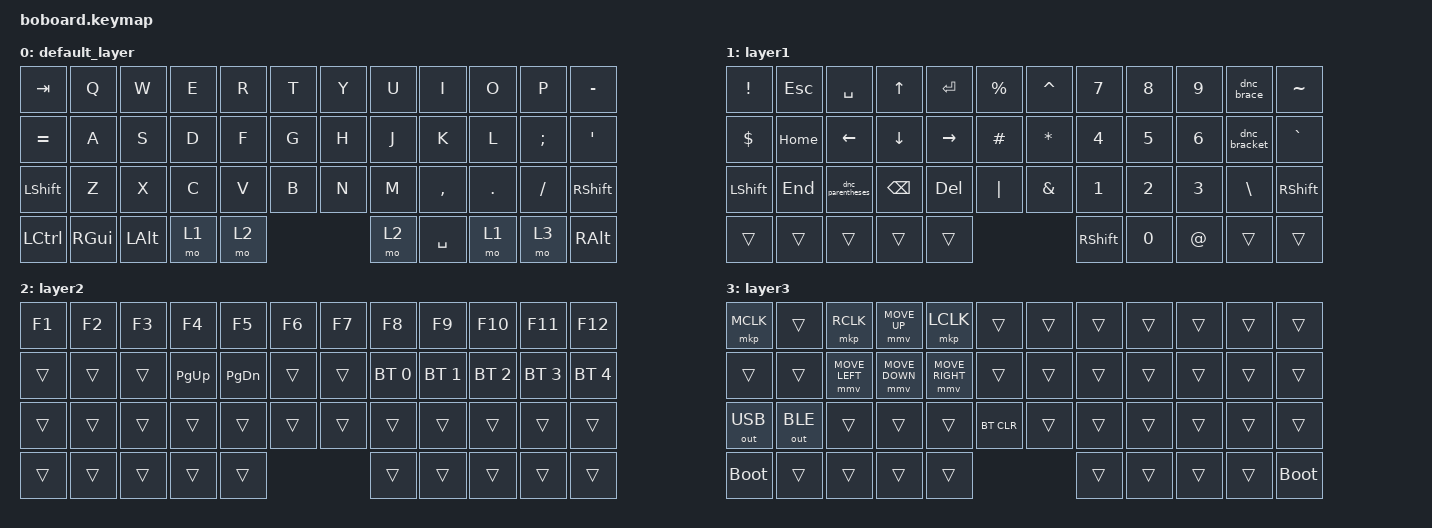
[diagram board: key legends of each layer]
#include <behaviors.dtsi>
#include <dt-bindings/zmk/bt.h>
#include <dt-bindings/zmk/keys.h>
#include <dt-bindings/zmk/outputs.h>

#define ZMK_POINTING_DEFAULT_MOVE_VAL 1500  // default: 600
#define ZMK_POINTING_DEFAULT_SCRL_VAL 20    // default: 10
#include <dt-bindings/zmk/pointing.h>

/ {
    behaviors {
        shift0: tap_dance_0 {
            compatible = "zmk,behavior-tap-dance";
            #binding-cells = <0>;
            tapping-term-ms = <300>;
            bindings = <&kp LSHIFT>, <&kp CAPS>;
        };

        dnc_brace: dnc_brace {
            compatible = "zmk,behavior-tap-dance";
            label = "DNC_BRACE";
            #binding-cells = <0>;
            bindings = <&kp LEFT_BRACE>, <&kp RIGHT_BRACE>;
        };

        dnc_bracket: dnc_bracket {
            compatible = "zmk,behavior-tap-dance";
            label = "DNC_BRACKET";
            #binding-cells = <0>;
            bindings = <&kp LEFT_BRACKET>, <&kp RIGHT_BRACKET>;
        };

        dnc_parentheses: dnc_parentheses {
            compatible = "zmk,behavior-tap-dance";
            label = "DNC_PARENTHESES";
            #binding-cells = <0>;
            #bindings = <&macro_parentheses>, <&kp RIGHT_PARENTHESIS>;
            bindings = <&kp LEFT_PARENTHESIS>, <&kp RIGHT_PARENTHESIS>;
        };
    };

    macros {
        macro_parentheses: macro_parentheses {
            compatible = "zmk,behavior-macro";
            #binding-cells = <0>; // Must be 0
            bindings = <&kp LEFT_PARENTHESIS &kp RIGHT_PARENTHESIS &kp LEFT>;
        };

        macro_bracket: macro_bracket {
            compatible = "zmk,behavior-macro";
            #binding-cells = <0>; // Must be 0
            bindings = <&kp LEFT_BRACKET &kp RIGHT_BRACKET &kp LEFT>;
        };

        macro_brace: macro_brace {
            compatible = "zmk,behavior-macro";
            #binding-cells = <0>; // Must be 0
            bindings = <&kp LEFT_BRACE &kp RIGHT_BRACE &kp LEFT>;
        };
    };

    combos {
        compatible = "zmk,combos";

        shifts2Caps {
            bindings = <&kp CAPSLOCK>;
            key-positions = <24 35>;
        };
    };

    keymap {
        compatible = "zmk,keymap";

        default_layer {
            bindings = <
&kp TAB     &kp Q     &kp W     &kp E  &kp R  &kp T  &kp Y  &kp U  &kp I      &kp O    &kp P     &kp MINUS
&kp EQUAL   &kp A     &kp S     &kp D  &kp F  &kp G  &kp H  &kp J  &kp K      &kp L    &kp SEMI  &kp SQT
&kp LSHIFT  &kp Z     &kp X     &kp C  &kp V  &kp B  &kp N  &kp M  &kp COMMA  &kp DOT  &kp FSLH  &kp RSHFT
&kp LCTRL   &kp RGUI  &kp LALT  &mo 1  &mo 2                &mo 2  &kp SPACE  &mo 1    &mo 3     &kp RALT
            >;
        };

        layer1 {
            bindings = <
&kp EXCLAMATION  &kp ESC   &kp SPACE         &kp UP         &kp RET     &kp PERCENT  &kp CARET      &kp NUMBER_7     &kp NUMBER_8  &kp NUMBER_9  &dnc_brace     &kp TILDE
&kp DLLR         &kp HOME  &kp LEFT          &kp DOWN       &kp RIGHT   &kp HASH     &kp STAR       &kp NUMBER_4     &kp NUMBER_5  &kp NUMBER_6  &dnc_bracket   &kp GRAVE
&kp LEFT_SHIFT   &kp END   &dnc_parentheses  &kp BACKSPACE  &kp DELETE  &kp PIPE     &kp AMPERSAND  &kp NUMBER_1     &kp NUMBER_2  &kp NUMBER_3  &kp BACKSLASH  &kp RIGHT_SHIFT
&trans           &trans    &trans            &trans         &trans                                  &kp RIGHT_SHIFT  &kp NUMBER_0  &kp AT        &trans         &trans
            >;
        };

        layer2 {
            bindings = <
&kp F1  &kp F2  &kp F3  &kp F4       &kp F5         &kp F6  &kp F7  &kp F8        &kp F9        &kp F10       &kp F11       &kp F12
&trans  &trans  &trans  &kp PAGE_UP  &kp PAGE_DOWN  &trans  &trans  &bt BT_SEL 0  &bt BT_SEL 1  &bt BT_SEL 2  &bt BT_SEL 3  &bt BT_SEL 4
&trans  &trans  &trans  &trans       &trans         &trans  &trans  &trans        &trans        &trans        &trans        &trans
&trans  &trans  &trans  &trans       &trans                         &trans        &trans        &trans        &trans        &trans
            >;
        };

        layer3 {
            bindings = <
&mkp MCLK    &trans        &mkp RCLK       &mmv MOVE_UP    &mkp LCLK        &trans         &trans  &trans        &trans        &trans        &trans        &trans
&trans       &trans        &mmv MOVE_LEFT  &mmv MOVE_DOWN  &mmv MOVE_RIGHT  &trans         &trans  &trans        &trans        &trans        &trans        &trans
&out OUT_USB &out OUT_BLE  &trans          &trans          &trans           &bt BT_CLR     &trans  &trans        &trans        &trans        &trans        &trans
&bootloader  &trans        &trans          &trans          &trans                                  &trans        &trans        &trans        &trans        &bootloader
            >;
        };
    };
};
